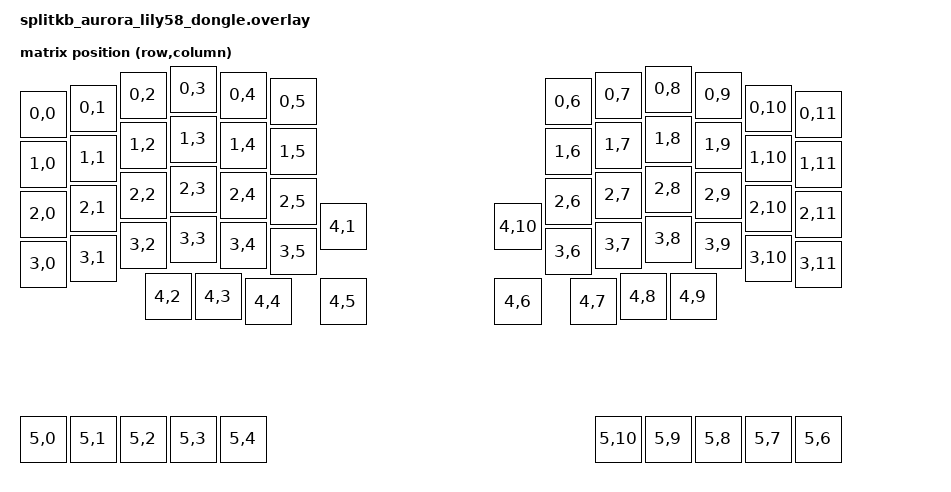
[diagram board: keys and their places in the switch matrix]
/*
 * Copyright (c) 2026 Splitkb.com
 *
 * SPDX-License-Identifier: MIT
 */

#include <physical_layouts.dtsi>
#include <dt-bindings/zmk/matrix_transform.h>

/ {
    chosen {
        zmk,kscan = &mock_kscan;
        zmk,physical-layout = &halcyon_layout;
    };

    mock_kscan: mock_kscan_0 {
        compatible = "zmk,kscan-mock";
        columns = <0>;
        rows = <0>;
        events = <0>;
    };

    halcyon_transform: keymap_transform_1 {
        compatible = "zmk,matrix-transform";
        columns = <12>;
        rows = <6>;
        // | SW6  | SW5  | SW4  | SW3  | SW2  | SW1  |                 | SW1  | SW2  | SW3  | SW4  | SW5  | SW6  |
        // | SW12 | SW11 | SW10 | SW9  | SW8  | SW7  |                 | SW7  | SW8  | SW9  | SW10 | SW11 | SW12 |
        // | SW18 | SW17 | SW16 | SW15 | SW14 | SW13 |                 | SW13 | SW14 | SW15 | SW16 | SW17 | SW18 |
        // | SW24 | SW23 | SW22 | SW21 | SW20 | SW19 | SW25 |   | SW25 | SW19 | SW20 | SW21 | SW22 | SW23 | SW24 |
        //                      | SW29 | SW28 | SW27 | SW26 |   | SW26 | SW27 | SW28 | SW29 |
        // | D0   | D1   | D2   | D3   | D4   |                               | D4   | D3   | D2   | D1   | D0   |
        map = <
        RC(0,0) RC(0,1) RC(0,2) RC(0,3) RC(0,4) RC(0,5)                 RC(0,6) RC(0,7) RC(0,8) RC(0,9) RC(0,10) RC(0,11)
        RC(1,0) RC(1,1) RC(1,2) RC(1,3) RC(1,4) RC(1,5)                 RC(1,6) RC(1,7) RC(1,8) RC(1,9) RC(1,10) RC(1,11)
        RC(2,0) RC(2,1) RC(2,2) RC(2,3) RC(2,4) RC(2,5)                 RC(2,6) RC(2,7) RC(2,8) RC(2,9) RC(2,10) RC(2,11)
        RC(3,0) RC(3,1) RC(3,2) RC(3,3) RC(3,4) RC(3,5) RC(4,1) RC(4,10) RC(3,6) RC(3,7) RC(3,8) RC(3,9) RC(3,10) RC(3,11)
                                RC(4,2) RC(4,3) RC(4,4) RC(4,5) RC(4,6) RC(4,7) RC(4,8) RC(4,9)
        RC(5,0) RC(5,1) RC(5,2) RC(5,3) RC(5,4)                                 RC(5,10) RC(5,9) RC(5,8) RC(5,7) RC(5,6)
        >;
    };

    halcyon_layout: halcyon_layout {
        compatible = "zmk,physical-layout";
        display-name = "Aurora Lily58";
        transform = <&halcyon_transform>;

        keys  //                     w   h    x    y     rot    rx    ry
            = <&key_physical_attrs 100 100    0   50       0     0     0>
            , <&key_physical_attrs 100 100  100   38       0     0     0>
            , <&key_physical_attrs 100 100  200   12       0     0     0>
            , <&key_physical_attrs 100 100  300    0       0     0     0>
            , <&key_physical_attrs 100 100  400   12       0     0     0>
            , <&key_physical_attrs 100 100  500   25       0     0     0>
            , <&key_physical_attrs 100 100 1050   25       0     0     0>
            , <&key_physical_attrs 100 100 1150   12       0     0     0>
            , <&key_physical_attrs 100 100 1250    0       0     0     0>
            , <&key_physical_attrs 100 100 1350   12       0     0     0>
            , <&key_physical_attrs 100 100 1450   38       0     0     0>
            , <&key_physical_attrs 100 100 1550   50       0     0     0>
            , <&key_physical_attrs 100 100    0  150       0     0     0>
            , <&key_physical_attrs 100 100  100  138       0     0     0>
            , <&key_physical_attrs 100 100  200  112       0     0     0>
            , <&key_physical_attrs 100 100  300  100       0     0     0>
            , <&key_physical_attrs 100 100  400  112       0     0     0>
            , <&key_physical_attrs 100 100  500  125       0     0     0>
            , <&key_physical_attrs 100 100 1050  125       0     0     0>
            , <&key_physical_attrs 100 100 1150  112       0     0     0>
            , <&key_physical_attrs 100 100 1250  100       0     0     0>
            , <&key_physical_attrs 100 100 1350  112       0     0     0>
            , <&key_physical_attrs 100 100 1450  138       0     0     0>
            , <&key_physical_attrs 100 100 1550  150       0     0     0>
            , <&key_physical_attrs 100 100    0  250       0     0     0>
            , <&key_physical_attrs 100 100  100  238       0     0     0>
            , <&key_physical_attrs 100 100  200  212       0     0     0>
            , <&key_physical_attrs 100 100  300  200       0     0     0>
            , <&key_physical_attrs 100 100  400  212       0     0     0>
            , <&key_physical_attrs 100 100  500  225       0     0     0>
            , <&key_physical_attrs 100 100 1050  225       0     0     0>
            , <&key_physical_attrs 100 100 1150  212       0     0     0>
            , <&key_physical_attrs 100 100 1250  200       0     0     0>
            , <&key_physical_attrs 100 100 1350  212       0     0     0>
            , <&key_physical_attrs 100 100 1450  238       0     0     0>
            , <&key_physical_attrs 100 100 1550  250       0     0     0>
            , <&key_physical_attrs 100 100    0  350       0     0     0>
            , <&key_physical_attrs 100 100  100  338       0     0     0>
            , <&key_physical_attrs 100 100  200  312       0     0     0>
            , <&key_physical_attrs 100 100  300  300       0     0     0>
            , <&key_physical_attrs 100 100  400  312       0     0     0>
            , <&key_physical_attrs 100 100  500  325       0     0     0>
            , <&key_physical_attrs 100 100  600  275       0     0     0>
            , <&key_physical_attrs 100 100  950  275       0     0     0>
            , <&key_physical_attrs 100 100 1050  325       0     0     0>
            , <&key_physical_attrs 100 100 1150  312       0     0     0>
            , <&key_physical_attrs 100 100 1250  300       0     0     0>
            , <&key_physical_attrs 100 100 1350  312       0     0     0>
            , <&key_physical_attrs 100 100 1450  338       0     0     0>
            , <&key_physical_attrs 100 100 1550  350       0     0     0>
            , <&key_physical_attrs 100 100  250  415       0     0     0>
            , <&key_physical_attrs 100 100  350  415       0     0     0>
            , <&key_physical_attrs 100 100  450  425       0     0     0>
            , <&key_physical_attrs 100 100  600  425       0     0     0>
            , <&key_physical_attrs 100 100  950  425       0     0     0>
            , <&key_physical_attrs 100 100 1100  425       0     0     0>
            , <&key_physical_attrs 100 100 1200  415       0     0     0>
            , <&key_physical_attrs 100 100 1300  415       0     0     0>
            , <&key_physical_attrs 100 100    0  700       0     0     0>
            , <&key_physical_attrs 100 100  100  700       0     0     0>
            , <&key_physical_attrs 100 100  200  700       0     0     0>
            , <&key_physical_attrs 100 100  300  700       0     0     0>
            , <&key_physical_attrs 100 100  400  700       0     0     0>
            , <&key_physical_attrs 100 100 1150  700       0     0     0>
            , <&key_physical_attrs 100 100 1250  700       0     0     0>
            , <&key_physical_attrs 100 100 1350  700       0     0     0>
            , <&key_physical_attrs 100 100 1450  700       0     0     0>
            , <&key_physical_attrs 100 100 1550  700       0     0     0>
            ;
    };

    left_halcyon_encoder: halcyon_encoder_left {
        status = "disabled";
    };

    right_halcyon_encoder: halcyon_encoder_right {
        status = "disabled";
    };
    
    left_encoder: left_encoder {
        status = "disabled";
    };

    right_encoder: right_encoder {
        status = "disabled";
    };

    sensors: sensors {
        compatible = "zmk,keymap-sensors";
        sensors = <&left_halcyon_encoder &right_halcyon_encoder &left_encoder &right_encoder>;
        triggers-per-rotation = <20>;
    };
};
